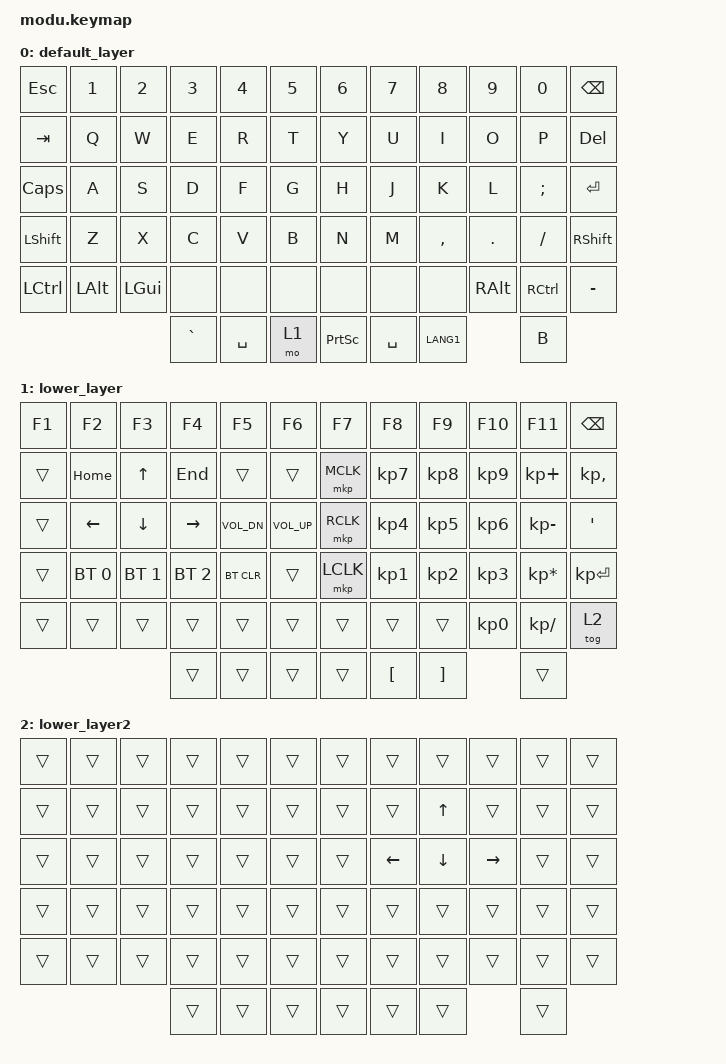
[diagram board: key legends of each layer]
/*
 * Copyright (c) 2026 EKS Inc.
 * Created by Ryu.
 * SPDX-License-Identifier: LicenseRef-EKS-NonCommercial-1.0
 */
#include <behaviors.dtsi>
#include <dt-bindings/zmk/keys.h>
#include <dt-bindings/zmk/bt.h>
#include <dt-bindings/zmk/pointing.h>
/ {
    keymap {
        compatible = "zmk,keymap";
        default_layer {
            bindings = <
&kp ESC   &kp N1   &kp N2    &kp N3    &kp N4    &kp N5      &kp N6    &kp N7    &kp N8    &kp N9    &kp N0    &kp BSPC
&kp TAB   &kp Q    &kp W     &kp E     &kp R     &kp T       &kp Y     &kp U     &kp I     &kp O     &kp P     &kp DEL
&kp CAPS  &kp A    &kp S     &kp D     &kp F     &kp G       &kp H     &kp J     &kp K     &kp L     &kp SEMI  &kp RET
&kp LSHFT &kp Z    &kp X     &kp C     &kp V     &kp B       &kp N     &kp M     &kp COMMA &kp DOT   &kp FSLH  &kp RSHFT
&kp LCTRL &kp LALT &kp LGUI  &none     &none     &none       &none     &none     &none     &kp RALT  &kp RCTRL &kp MINUS
                             &kp GRAVE     &kp SPACE &mo 1   &kp PSCRN  &kp SPACE   &kp LANG1    &kp B
            >;
        };
        lower_layer {
            bindings = <
&kp F1   &kp F2  &kp F3    &kp F4    &kp F5    &kp F6                   &kp F7    &kp F8    &kp F9    &kp F10   &kp F11   &kp BSPC
&trans   &kp HOME   &kp UP    &kp END    &trans   &trans                &mkp MCLK      &kp KP_N7    &kp KP_N8    &kp KP_N9   &kp KP_PLUS        &kp KP_COMMA
&trans   &kp LEFT   &kp DOWN    &kp RIGHT    &kp C_VOL_DN   &kp C_VOL_UP            &mkp RCLK     &kp KP_N4    &kp KP_N5    &kp KP_N6   &kp KP_MINUS       &kp SQT 
&trans &bt BT_SEL 0 &bt BT_SEL 1 &bt BT_SEL 2 &bt BT_CLR  &trans        &mkp LCLK   &kp KP_N1    &kp KP_N2    &kp KP_N3    &kp KP_MULTIPLY        &kp KP_ENTER
&trans   &trans  &trans    &trans    &trans    &trans      &trans       &trans    &trans    &kp KP_N0    &kp KP_DIVIDE      &tog 2
                            &trans    &trans    &trans      &trans      &kp LBKT    &kp RBKT   &trans
            >;
        };
        lower_layer2 {
            bindings = <
&trans     &trans       &trans       &trans       &trans    &trans       &trans    &trans    &trans    &trans       &trans      &trans
&trans     &trans       &trans       &trans       &trans    &trans       &trans    &trans    &kp UP    &trans       &trans      &trans
&trans     &trans       &trans       &trans       &trans    &trans       &trans    &kp LEFT    &kp DOWN    &kp RIGHT       &trans      &trans
&trans     &trans       &trans       &trans       &trans    &trans       &trans    &trans    &trans    &trans       &trans      &trans
&trans     &trans       &trans       &trans       &trans    &trans       &trans    &trans    &trans    &trans       &trans      &trans
                                     &trans       &trans    &trans       &trans    &trans    &trans    &trans
            >;
        };
    };
};
